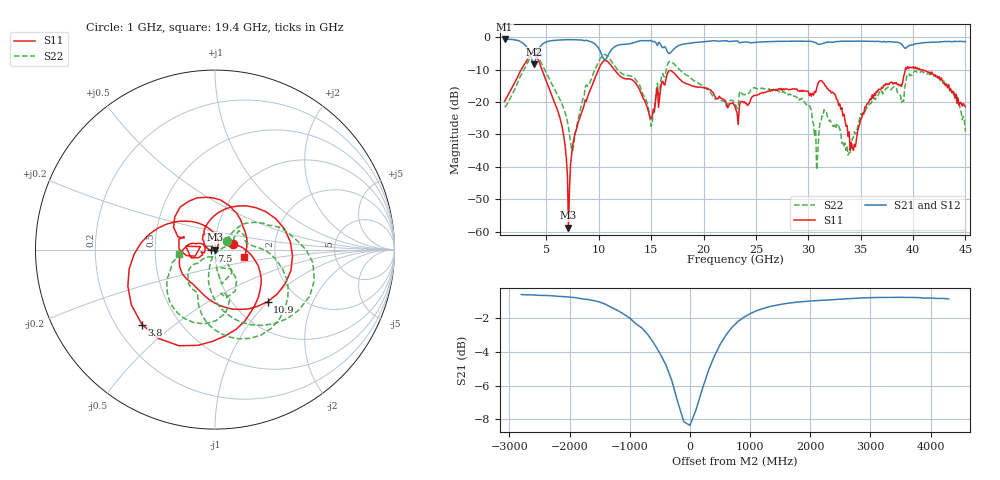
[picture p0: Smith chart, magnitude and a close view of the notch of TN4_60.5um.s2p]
!Keysight Technologies,N5247B,MY61255062,A.19.80.06
!Date: Monday, May 18, 2026 12:22:26
!Correction: S11(Cdelta 2-Port  )
!S21(Cdelta 2-Port  )
!S12(Cdelta 2-Port  )
!S22(Cdelta 2-Port  )
!S2P File: Measurements: S11, S21, S12, S22:
# Hz S  dB  R 50
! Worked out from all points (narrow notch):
!   441 points, 1 GHz to 45 GHz, reference 50 ohm
!   highest |S21| = -0.57 dB at 1 GHz (marker M1); lowest = -8.4 dB at 3.8 GHz (marker M2)
!   notch at M2: 7.0 dB deep, 722 MHz wide at half that depth
!   lowest |S11| = -58.8 dB at 7.1 GHz (marker M3), VSWR 1.00, Z = 50.1 + j0.0412 ohm
!   |S11| at or under -10 dB: 4.567 GHz to 9.963 GHz (5.396 GHz wide, 74.3 % of centre); 11.47 GHz to 39.26 GHz (27.79 GHz wide, 110 % of centre); 40.68 GHz to end of sweep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
!   |S22| runs from -40.9 to -4.6 dB; largest |S21 - S12| = 0.014
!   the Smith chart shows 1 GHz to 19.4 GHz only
!   S11 on the Smith chart (normalised r, x): 1 GHz: 1.22, +0.07; 3.8 GHz: 0.31, -0.39; 7.5 GHz: 0.96, -0.01; 10.9 GHz: 1.42, -0.99; 19.4 GHz: 1.39, -0.11
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1e9  -19.73 16.7  -0.57 -24.8  -0.57 -24.9  -21.56 33.9
2.8e9  -8.85 -48.3  -1.98 -75.6  -1.97 -75.6  -10.29 28.8
3.8e9  -4.69 -134.2  -8.37 -73.7  -8.37 -73.7  -4.61 -26.1
4.6e9  -10.29 152.5  -2.18 -74.4  -2.18 -74.4  -8.59 -78.5
6.3e9  -25.08 71.7  -0.85 -123.0  -0.85 -123.0  -19.30 -107.0
7.1e9  -58.77 20.9  -0.74 -143.0  -0.75 -143.0  -27.88 -106.3
7.5e9  -33.36 -168.1  -0.75 -153.0  -0.75 -153.0  -35.01 -42.1
8.4e9  -22.71 147.9  -0.90 -176.0  -0.90 -176.0  -19.88 18.3
9.9e9  -10.47 54.5  -3.03 139.4  -3.03 139.4  -8.04 -16.7
1.09e10  -7.69 -44.6  -5.44 154.2  -5.44 154.1  -6.12 -80.4
1.5e10  -25.18 -177.8  -1.08 55.7  -1.08 55.7  -27.52 -109.6
1.57e10  -21.63 168.4  -1.60 40.9  -1.60 40.9  -20.04 -86.0
1.68e10  -10.27 118.6  -4.91 27.3  -4.92 27.3  -7.47 -106.5
1.94e10  -15.46 -13.6  -1.58 -21.4  -1.59 -21.4  -13.90 -172.6
2.3e10  -21.37 -151.0  -1.16 -100.2  -1.15 -100.2  -20.60 -173.0
2.69e10  -16.09 66.4  -1.30 -178.1  -1.29 -178.3  -16.51 130.6
3.04e10  -17.31 -4.2  -1.36 106.5  -1.36 106.5  -25.68 19.6
3.25e10  -17.40 -72.8  -1.49 69.5  -1.45 69.5  -27.16 52.8
3.42e10  -33.79 159.2  -1.20 32.9  -1.20 32.8  -31.23 83.0
3.77e10  -14.62 24.8  -1.39 -41.2  -1.43 -41.3  -15.75 50.7
4.15e10  -10.90 -37.1  -1.62 -112.6  -1.63 -112.6  -11.17 -17.5
4.5e10  -21.41 -34.6  -1.32 171.6  -1.32 171.7  -29.06 -42.3
